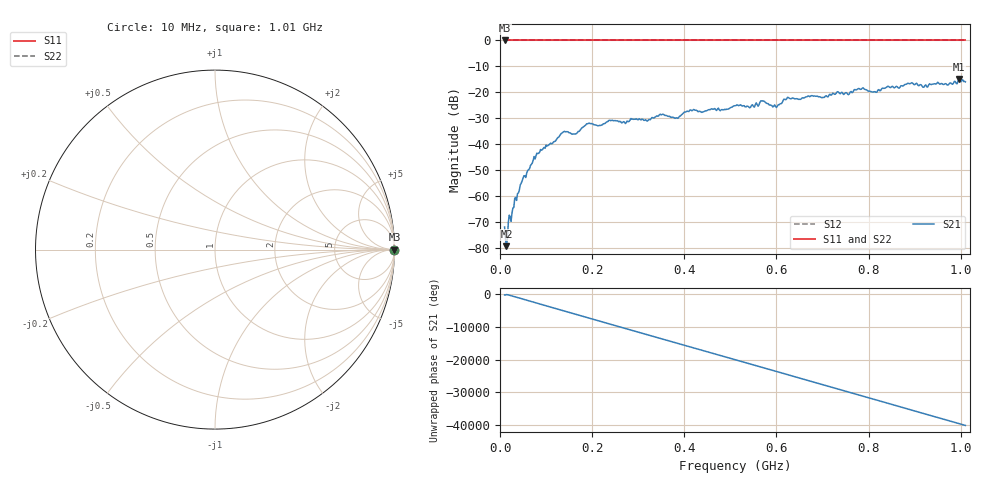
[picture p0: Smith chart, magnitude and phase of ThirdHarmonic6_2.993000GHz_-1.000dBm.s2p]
! 8/17/2025 8:32:15 AM
! C:\ANRITSUVNA\TEMP\TEMP.S2P
! CHANNEL.1
! TR.MEASUREMENT
! RAW.DATA
! RF.CORRECTION.OFF
! AVERAGING.OFF
! IF.BANDWIDTH: 5KHZ
! SWEEPTYPE:  FREQ.SWEEP(Linear)
! Reference Plane Port Info
! PORT:  PORT1  PORT2
! DISTANCE:  0  m  0  m
! TIME:  0  s  0  s
! PHASE.OFFSET:  0  deg.  0  deg.
! LOSS:  0  dB  0  dB
! REF.LOSS:  0  dB  0  dB
! REF.FREQ:  0  Hz  0  Hz
! Power Info
! POWER:  -20  dBm  -20  dBm
! EFF.POWER:  -20  dBm  -20  dBm
! SOURCE.ATTEN:  0  dB  0  dB
! TEST.ATTEN:  0  dB  0  dB
# GHZ S RI R 50.0
! FREQ.GHZ  S11RE  S11IM  S21RE  S21IM  S12RE  S12IM  S22RE  S22IM
!; PortSelection: Port_12
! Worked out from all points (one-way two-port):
!   501 points, 10 MHz to 1.01 GHz, reference 50 ohm
!   highest |S21| = -14.86 dB at 996 MHz (marker M1); lowest = -79.2 dB at 14 MHz (marker M2)
!   lowest |S11| = 0.0 dB at 10 MHz (marker M3)
!   |S11| at or under -10 dB: nowhere
!   |S22| runs from 0.0 to 0.0 dB; largest |S21 - S12| = 1.2
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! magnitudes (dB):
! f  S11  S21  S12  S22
! 10 MHz  0.0  -71.9  0.0  0.0
! 14 MHz  0.0  -79.2  0.0  0.0
! 30 MHz  0.0  -64.3  0.0  0.0
! 48 MHz  0.0  -54.1  0.0  0.0
! 78 MHz  0.0  -44.6  0.0  0.0
! 136 MHz  0.0  -35.5  0.0  0.0
! 162 MHz  0.0  -36.0  0.0  0.0
! 178 MHz  0.0  -33.6  0.0  0.0
! 344 MHz  0.0  -29.1  0.0  0.0
! 384 MHz  0.0  -29.8  0.0  0.0
! 416 MHz  0.0  -27.1  0.0  0.0
! 510 MHz  0.0  -25.1  0.0  0.0
! 540 MHz  0.0  -25.6  0.0  0.0
! 570 MHz  0.0  -23.3  0.0  0.0
! 596 MHz  0.0  -24.8  0.0  0.0
! 622 MHz  0.0  -22.5  0.0  0.0
! 678 MHz  0.0  -21.3  0.0  0.0
! 784 MHz  0.0  -18.8  0.0  0.0
! 814 MHz  0.0  -19.7  0.0  0.0
! 844 MHz  0.0  -17.8  0.0  0.0
! 996 MHz  0.0  -14.9  0.0  0.0
! 1.01 GHz  0.0  -16.0  0.0  0.0
